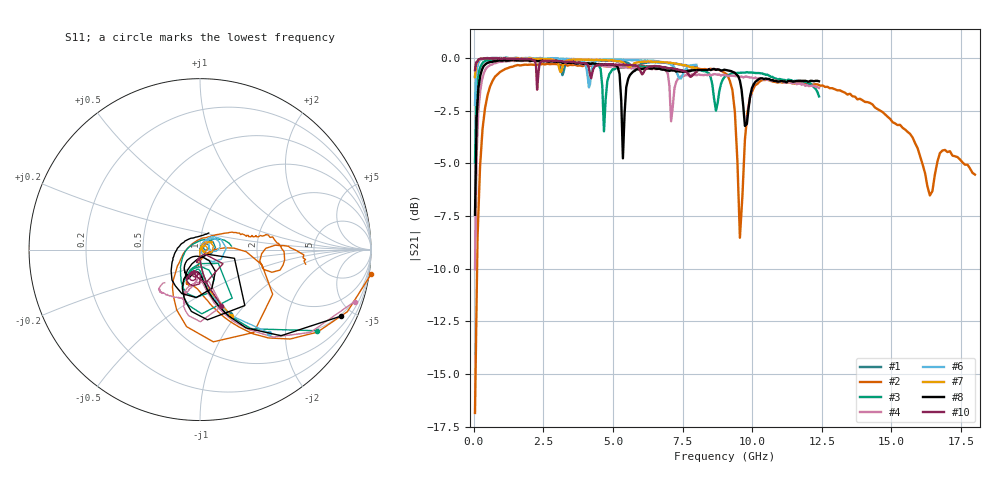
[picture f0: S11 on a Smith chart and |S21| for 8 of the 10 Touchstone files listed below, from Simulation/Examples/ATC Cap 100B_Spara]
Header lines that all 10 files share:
!  American Technical Ceramics  Date:  3/13/98
!  One Norden Lane
!  Huntington Station,  NY.  11746-2102
!  Tel:  (516) 547-5700  Fax:  (516) 547-5748
!  Description: Porcelain, High Q, Low ESR
!  Application: Bypass, Coupling, Timing, Feedback
!  Tuning, Impedance Match, Blocking
# GHZ S DB R 50
! Freq  |S11|  S11 Ph  |S21|  S21 Ph  |S12|  S12 Ph  |S22|  S22 Ph
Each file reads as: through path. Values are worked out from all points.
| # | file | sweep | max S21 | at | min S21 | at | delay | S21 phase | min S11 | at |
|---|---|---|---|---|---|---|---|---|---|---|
| 1 | 100A680J.S2P | 50 MHz to 8 GHz | -0.01 dB | 650 MHz | -0.9 dB | 50 MHz | 2.93 ps | -2 deg at 4.03 GHz | -63.6 dB | 1.56 GHz |
| 2 | 100B4R7B.S2P | 50 MHz to 18 GHz | -0.27 dB | 2.65 GHz | -16.9 dB | 50 MHz | - | -26 deg at 9.03 GHz | -27.5 dB | 8.58 GHz |
| 3 | 100B220F.S2P | 50 MHz to 12.4 GHz | -0.06 dB | 1.04 GHz | -4.9 dB | 50 MHz | 6.13 ps | -9 deg at 6.23 GHz | -26.5 dB | 11.23 GHz |
| 4 | 180R100K.S2P | 50 MHz to 12.4 GHz | -0.12 dB | 1.35 GHz | -10.0 dB | 50 MHz | 3.13 ps | -3 deg at 6.23 GHz | -15.6 dB | 2.03 GHz |
| 5 | 700A150G.S2P | 50 MHz to 12.4 GHz | 0.01 dB | 1.96 GHz | -7.6 dB | 50 MHz | 4.15 ps | -9 deg at 6.23 GHz | -47.5 dB | 2.77 GHz |
| 6 | 700A390G.S2P | 50 MHz to 8 GHz | 0.04 dB | 1.16 GHz | -2.2 dB | 50 MHz | 3.96 ps | -6 deg at 4.03 GHz | -53.5 dB | 2 GHz |
| 7 | 700A680G.S2P | 50 MHz to 8 GHz | 0.00 dB | 810 MHz | -0.9 dB | 50 MHz | 3.06 ps | -3 deg at 4.03 GHz | -58.8 dB | 1.6 GHz |
| 8 | 700B150F.S2P | 50 MHz to 12.4 GHz | -0.09 dB | 1.41 GHz | -7.4 dB | 50 MHz | 7.77 ps | -11 deg at 6.23 GHz | -27.2 dB | 9.5 GHz |
| 9 | 700B330J.S2P | 50 MHz to 8 GHz | -0.03 dB | 1.16 GHz | -2.9 dB | 50 MHz | 7.59 ps | -6 deg at 4.03 GHz | -23.7 dB | 3.63 GHz |
| 10 | 700B820J.S2P | 50 MHz to 8 GHz | -0.01 dB | 450 MHz | -1.5 dB | 2.28 GHz | 6.07 ps | -9 deg at 4.03 GHz | -28.9 dB | 2.24 GHz |
